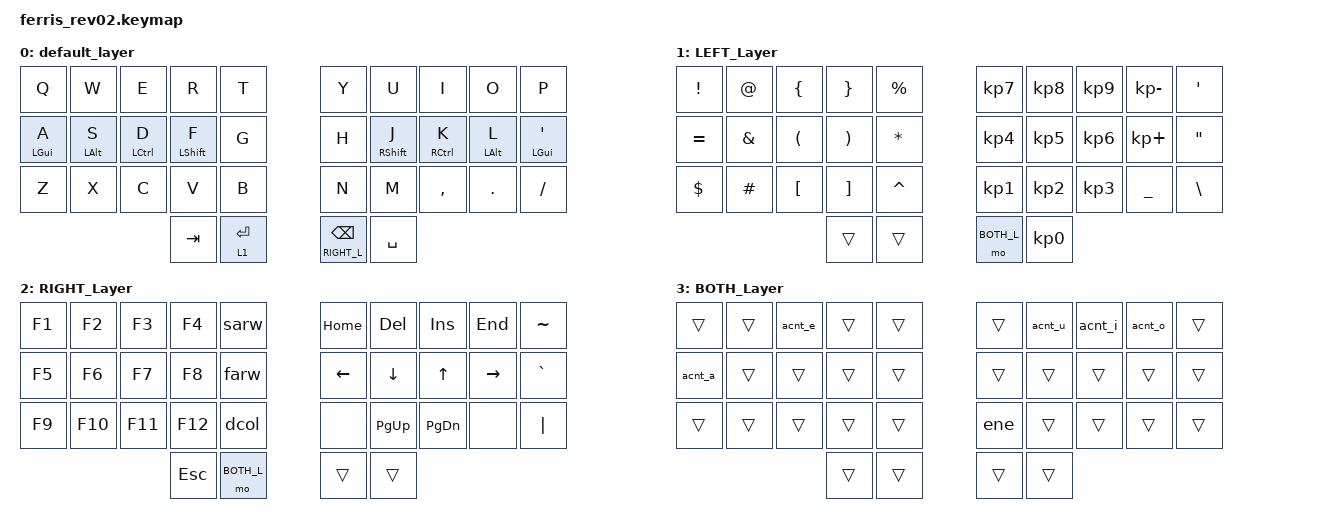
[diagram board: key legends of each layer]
/*
 * Copyright (c) 2020 The ZMK Contributors
 *
 * SPDX-License-Identifier: MIT
 */

#undef ZMK_BEHAVIORS_KEEP_ALL

#include <behaviors.dtsi>
#include <dt-bindings/zmk/keys.h>

#define LEFT_L 1
#define RIGHT_L 2
#define BOTH_L 3

// Using layer taps on thumbs, having quick tap as well helps w/ repeating space/backspace

&lt { quick-tap-ms = <200>; };

/ {
    behaviors {
        hm: homerow_mods {
            compatible = "zmk,behavior-hold-tap";
            #binding-cells = <2>;
            tapping-term-ms = <200>;
            flavor = "tap-preferred";
            bindings = <&kp>, <&kp>;
        };

        acnt_a: accent_a {
            compatible = "zmk,behavior-mod-morph";
            #binding-cells = <0>;
            bindings = <&lwr_acnt_a>, <&upr_acnt_a>;

            mods = <(MOD_LSFT|MOD_RSFT)>;
        };

        acnt_e: accent_e {
            compatible = "zmk,behavior-mod-morph";
            #binding-cells = <0>;
            bindings = <&lwr_acnt_e>, <&upr_acnt_e>;

            mods = <(MOD_LSFT|MOD_RSFT)>;
        };

        acnt_i: accent_i {
            compatible = "zmk,behavior-mod-morph";
            #binding-cells = <0>;
            bindings = <&lwr_acnt_i>, <&upr_acnt_i>;

            mods = <(MOD_LSFT|MOD_RSFT)>;
        };

        acnt_o: accent_o {
            compatible = "zmk,behavior-mod-morph";
            #binding-cells = <0>;
            bindings = <&lwr_acnt_o>, <&upr_acnt_o>;

            mods = <(MOD_LSFT|MOD_RSFT)>;
        };

        acnt_u: accent_u {
            compatible = "zmk,behavior-mod-morph";
            #binding-cells = <0>;
            bindings = <&lwr_acnt_u>, <&upr_acnt_u>;

            mods = <(MOD_LSFT|MOD_RSFT)>;
        };

        ene: ene {
            compatible = "zmk,behavior-mod-morph";
            bindings = <&lwr_ene>, <&upr_ene>;

            #binding-cells = <0>;
            mods = <(MOD_LSFT|MOD_RSFT)>;
        };
    };

    macros {
        sarw: slim_arrow {
            compatible = "zmk,behavior-macro";
            #binding-cells = <0>;
            bindings =
                <&macro_tap>,
                <&kp MINUS>,
                <&macro_press>,
                <&kp LSHFT>,
                <&macro_tap>,
                <&kp GT>,
                <&macro_release>,
                <&kp LSHFT>;
        };

        farw: fat_arrow {
            compatible = "zmk,behavior-macro";
            #binding-cells = <0>;
            bindings =
                <&macro_tap>,
                <&kp EQUAL>,
                <&macro_press>,
                <&kp LSHFT>,
                <&macro_tap>,
                <&kp GT>,
                <&macro_release>,
                <&kp LSHFT>;
        };

        dcol: double_colon {
            compatible = "zmk,behavior-macro";
            #binding-cells = <0>;
            bindings = <&macro_tap>, <&kp COLON &kp COLON>;
        };

        lwr_acnt_a: acnt_a {
            compatible = "zmk,behavior-macro";
            #binding-cells = <0>;
            bindings =
                <&macro_press>,
                <&kp LEFT_ALT>,
                <&macro_tap>,
                <&kp KP_NUMBER_1 &kp KP_NUMBER_6 &kp KP_NUMBER_0>,
                <&macro_release>,
                <&kp LEFT_ALT>;

            label = "ACNT_A";
        };

        upr_acnt_a: upr_acnt_a {
            compatible = "zmk,behavior-macro";
            #binding-cells = <0>;
            bindings =
                <&macro_press>,
                <&kp LEFT_ALT>,
                <&macro_tap>,
                <&kp KP_NUMBER_0 &kp KP_NUMBER_1 &kp KP_NUMBER_9 &kp KP_NUMBER_3>,
                <&macro_release>,
                <&kp LEFT_ALT>;

            label = "UPR_ACNT_A";
        };

        lwr_acnt_e: lwr_acnt_e {
            compatible = "zmk,behavior-macro";
            #binding-cells = <0>;
            bindings =
                <&macro_press>,
                <&kp LEFT_ALT>,
                <&macro_tap>,
                <&kp KP_NUMBER_1 &kp KP_NUMBER_3 &kp KP_NUMBER_0>,
                <&macro_release>,
                <&kp LEFT_ALT>;

            label = "LWR_ACNT_E";
        };

        upr_acnt_e: upr_acnt_e {
            compatible = "zmk,behavior-macro";
            #binding-cells = <0>;
            bindings =
                <&macro_press>,
                <&kp LEFT_ALT>,
                <&macro_tap>,
                <&kp KP_NUMBER_1 &kp KP_NUMBER_4 &kp KP_NUMBER_4>,
                <&macro_release>,
                <&kp LEFT_ALT>;

            label = "UPR_ACNT_E";
        };

        lwr_acnt_i: lwr_acnt_i {
            compatible = "zmk,behavior-macro";
            #binding-cells = <0>;
            bindings =
                <&macro_press>,
                <&kp LEFT_ALT>,
                <&macro_tap>,
                <&kp KP_NUMBER_1 &kp KP_NUMBER_6 &kp KP_NUMBER_1>,
                <&macro_release>,
                <&kp LEFT_ALT>;

            label = "LWR_ACNT_I";
        };

        upr_acnt_i: upr_acnt_i {
            compatible = "zmk,behavior-macro";
            #binding-cells = <0>;
            bindings =
                <&macro_press>,
                <&kp LEFT_ALT>,
                <&macro_tap>,
                <&kp KP_NUMBER_0 &kp KP_NUMBER_2 &kp KP_NUMBER_0 &kp KP_NUMBER_5>,
                <&macro_release>,
                <&kp LEFT_ALT>;

            label = "UPR_ACNT_I";
        };

        lwr_acnt_o: lwr_acnt_o {
            compatible = "zmk,behavior-macro";
            #binding-cells = <0>;
            bindings =
                <&macro_press>,
                <&kp LEFT_ALT>,
                <&macro_tap>,
                <&kp KP_NUMBER_1 &kp KP_NUMBER_6 &kp KP_NUMBER_2>,
                <&macro_release>,
                <&kp LEFT_ALT>;

            label = "LWR_ACNT_O";
        };

        upr_acnt_o: upr_acnt_o {
            compatible = "zmk,behavior-macro";
            #binding-cells = <0>;
            bindings =
                <&macro_press>,
                <&kp LEFT_ALT>,
                <&macro_tap>,
                <&kp KP_NUMBER_0 &kp KP_NUMBER_2 &kp KP_NUMBER_1 &kp KP_NUMBER_1>,
                <&macro_release>,
                <&kp LEFT_ALT>;

            label = "UPR_ACNT_O";
        };

        lwr_acnt_u: lwr_acnt_u {
            compatible = "zmk,behavior-macro";
            #binding-cells = <0>;
            bindings =
                <&macro_press>,
                <&kp LEFT_ALT>,
                <&macro_tap>,
                <&kp KP_NUMBER_1 &kp KP_NUMBER_6 &kp KP_NUMBER_3>,
                <&macro_release>,
                <&kp LEFT_ALT>;

            label = "LWR_ACNT_U";
        };

        upr_acnt_u: upr_acnt_u {
            compatible = "zmk,behavior-macro";
            #binding-cells = <0>;
            bindings =
                <&macro_press>,
                <&kp LEFT_ALT>,
                <&macro_tap>,
                <&kp KP_NUMBER_0 &kp KP_NUMBER_2 &kp KP_NUMBER_1 &kp KP_NUMBER_8>,
                <&macro_release>,
                <&kp LEFT_ALT>;

            label = "UPR_ACNT_U";
        };

        lwr_ene: ene {
            compatible = "zmk,behavior-macro";
            #binding-cells = <0>;
            bindings =
                <&macro_press>,
                <&kp LEFT_ALT>,
                <&macro_tap>,
                <&kp KP_NUMBER_1 &kp KP_NUMBER_6 &kp KP_NUMBER_4>,
                <&macro_release>,
                <&kp LEFT_ALT>;

            label = "ENE";
        };

        upr_ene: upr_ene {
            compatible = "zmk,behavior-macro";
            #binding-cells = <0>;
            bindings =
                <&macro_press>,
                <&kp LEFT_ALT>,
                <&macro_tap>,
                <&kp KP_NUMBER_1 &kp KP_NUMBER_6 &kp KP_NUMBER_5>,
                <&macro_release>,
                <&kp LEFT_ALT>;

            label = "UPR_ENE";
        };
    };

    combos {
        compatible = "zmk,combos";

        combo_esc {
            timeout-ms = <50>;
            key-positions = <0 1>;
            layers = <0 1>;
            require-prior-idle-ms = <125>;
            bindings = <&kp ESC>;
        };

        caps_word {
            bindings = <&caps_word>;
            key-positions = <20 21>;
        };
    };

    keymap {
        compatible = "zmk,keymap";

        default_layer {
            bindings = <
&kp Q       &kp W       &kp E        &kp R        &kp T          &kp Y             &kp U        &kp I        &kp O       &kp P
&hm LGUI A  &hm LALT S  &hm LCTRL D  &hm LSHFT F  &kp G          &kp H             &hm RSHFT J  &hm RCTRL K  &hm LALT L  &hm LGUI SQT
&kp Z       &kp X       &kp C        &kp V        &kp B          &kp N             &kp M        &kp COMMA    &kp DOT     &kp FSLH
                                     &kp TAB      &lt 1 ENTER    &lt RIGHT_L BSPC  &kp SPACE
            >;
        };

        LEFT_Layer {
            bindings = <
&kp EXCL   &kp AT    &kp LBRC  &kp RBRC  &kp PRCNT    &kp KP_N7   &kp KP_N8  &kp KP_N9  &kp KP_MINUS  &kp SQT
&kp EQUAL  &kp AMPS  &kp LPAR  &kp RPAR  &kp STAR     &kp KP_N4   &kp KP_N5  &kp KP_N6  &kp KP_PLUS   &kp DQT
&kp DLLR   &kp HASH  &kp LBKT  &kp RBKT  &kp CARET    &kp KP_N1   &kp KP_N2  &kp KP_N3  &kp UNDER     &kp BSLH
                               &trans    &trans       &mo BOTH_L  &kp KP_N0
            >;
        };

        RIGHT_Layer {
            bindings = <
&kp F1  &kp F2   &kp F3   &kp F4   &sarw         &kp HOME  &kp DEL    &kp INS    &kp END    &kp TILDE
&kp F5  &kp F6   &kp F7   &kp F8   &farw         &kp LEFT  &kp DOWN   &kp UP     &kp RIGHT  &kp GRAVE
&kp F9  &kp F10  &kp F11  &kp F12  &dcol         &none     &kp PG_UP  &kp PG_DN  &none      &kp PIPE
                          &kp ESC  &mo BOTH_L    &trans    &trans
            >;
        };

        BOTH_Layer {
            bindings = <
&trans   &trans  &acnt_e  &trans  &trans    &trans  &acnt_u  &acnt_i  &acnt_o  &trans
&acnt_a  &trans  &trans   &trans  &trans    &trans  &trans   &trans   &trans   &trans
&trans   &trans  &trans   &trans  &trans    &ene    &trans   &trans   &trans   &trans
                          &trans  &trans    &trans  &trans
            >;
        };
    };
};
